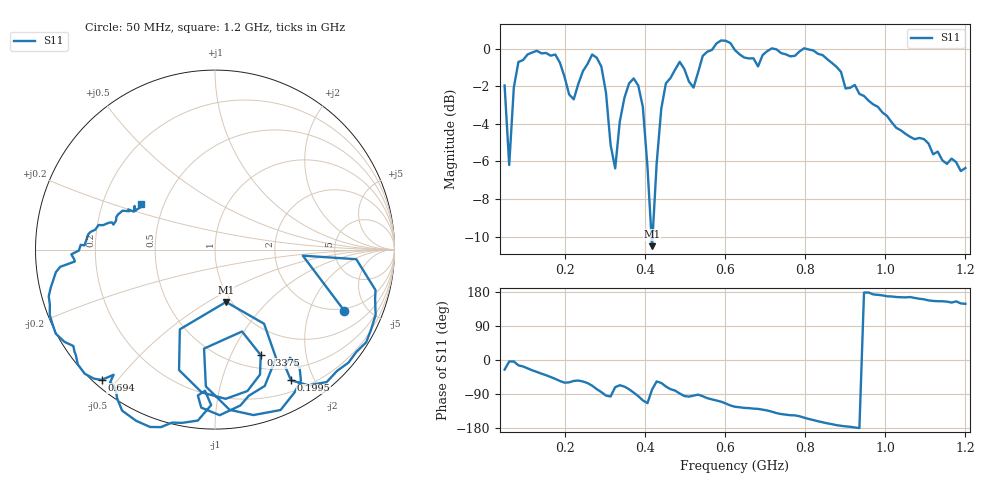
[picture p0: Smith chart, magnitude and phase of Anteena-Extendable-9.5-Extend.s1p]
# HZ S RI R 50
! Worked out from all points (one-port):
!   101 points, 50 MHz to 1.2 GHz, reference 50 ohm
!   lowest |S11| = -10.5 dB at 418 MHz (marker M1), VSWR 1.85, Z = 47.2 - j30.2 ohm
!   |S11| at or under -10 dB: 416.6 MHz to 419.3 MHz (2.73 MHz wide, 0.653 % of centre)
!   S11 on the Smith chart (normalised r, x): 50 MHz: 1.86, -3.52; 199.5 MHz: 0.34, -1.69; 337.5 MHz: 0.66, -1.30; 694 MHz: 0.02, -0.46; 1.2 GHz: 0.37, +0.25
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5e7  0.7214 -0.3421
6.15e7  0.4892 -0.0338
7.3e7  0.7872 -0.0535
1.305e8  0.8424 -0.5161
1.995e8  0.4234 -0.7281
2.225e8  0.4184 -0.6023
2.57e8  0.4426 -0.7964
2.8e8  0.2143 -0.9218
3.03e8  -0.051 -0.7626
3.145e8  -0.061 -0.5515
3.26e8  0.1505 -0.4562
3.375e8  0.2548 -0.5875
3.605e8  0.1809 -0.7879
3.835e8  -0.0743 -0.7952
4.065e8  -0.1958 -0.4442
4.18e8  0.0616 -0.2917
4.41e8  0.3399 -0.6033
4.87e8  0.0261 -0.9227
5.1e8  -0.0955 -0.8128
5.33e8  -0.0213 -0.8661
5.905e8  -0.3617 -0.9883
6.25e8  -0.5456 -0.8278
6.94e8  -0.6317 -0.7261
7.745e8  -0.7946 -0.5344
8.435e8  -0.9263 -0.2602
9.125e8  -0.7856 -0.0519
1.062e9  -0.5659 0.1395
1.2e9  -0.4096 0.2531
